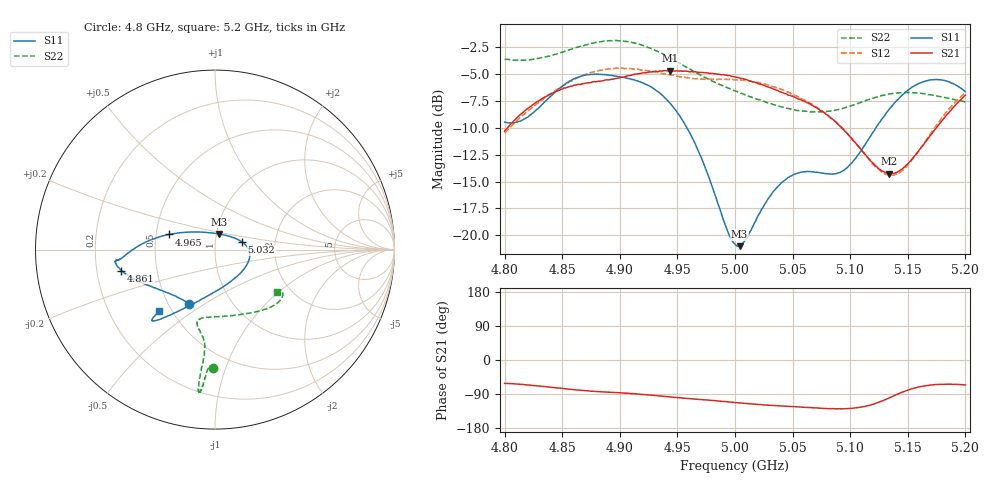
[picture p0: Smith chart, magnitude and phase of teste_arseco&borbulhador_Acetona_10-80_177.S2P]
! Network Analyzer HP8722D
! Hewlett-Packard
! Data name: Linha & Wilkinson
! Saver's name: Rodrigo Anjos
! Comments: Teste da utilização de aquisição
! continua pelo VNA HP8722D
! Time and date: 17/4/2025 15:50
!  Frequency  S11  S21  S12  S22
# HZ  S  MA R 50
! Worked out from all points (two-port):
!   401 points, 4.8 GHz to 5.2 GHz, reference 50 ohm
!   highest |S21| = -4.71 dB at 4.944 GHz (marker M1); lowest = -14.3 dB at 5.134 GHz (marker M2)
!   |S21| within 3 dB of the highest: 4.827 GHz to 5.063 GHz (236.5 MHz wide, 4.78 % of centre); 5.193247 GHz to end of sweep
!   lowest |S11| = -21.0 dB at 5.004 GHz (marker M3), VSWR 1.20, Z = 51.3 + j8.98 ohm
!   |S11| at or under -10 dB: 4.958 GHz to 5.122 GHz (164.2 MHz wide, 3.26 % of centre)
!   |S22| runs from -8.6 to -1.9 dB; largest |S21 - S12| = 0.87
!   S11 on the Smith chart (normalised r, x): 4.8 GHz: 0.63, -0.43; 4.861 GHz: 0.31, -0.10; 4.965 GHz: 0.59, +0.11; 5.032 GHz: 1.35, +0.12; 5.2 GHz: 0.43, -0.37
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4.8e9  0.3354 -115.3  0.305 -61.6  0.2992 -175.8  0.6572 -90.8
4.819e9  0.3517 -135.5  0.3841 -65.6  0.3728 -175.1  0.6521 -92.4
4.861e9  0.5348 -167.4  0.4976 -78.7  0.5312 -178.5  0.7394 -94.9
4.867e9  0.5492 -169.8  0.5049 -80.2  0.5482 -179.7  0.7572 -95.1
4.898e9  0.5464 -173.9  0.5361 -86.2  0.5952 174.4  0.8009 -96.3
4.934e9  0.4608 -179.9  0.578 -94.8  0.5688 170.8  0.7074 -96.8
4.944e9  0.4086 175.6  0.5817 -97.6  0.5553 170.9  0.6646 -96.4
4.965e9  0.2692 161.8  0.5744 -103.2  0.5332 172.8  0.5729 -96.0
4.993e9  0.1065 116.3  0.5535 -110.2  0.5297 175.0  0.4856 -98.5
5e9  0.09129 91.9  0.5432 -112.4  0.5278 175.1  0.4686 -99.8
5.004e9  0.08918 76.7  0.5369 -113.3  0.5271 175.1  0.4591 -100.6
5.032e9  0.1564 15.9  0.481 -119.9  0.4917 173.9  0.4075 -103.7
5.048e9  0.1883 0.2  0.4462 -122.5  0.4584 173.1  0.3858 -99.9
5.067e9  0.1973 -20.0  0.4011 -126.0  0.4056 172.8  0.3736 -89.4
5.085e9  0.1929 -48.5  0.3445 -128.7  0.3444 173.1  0.3801 -75.6
5.096e9  0.204 -70.3  0.302 -128.4  0.3026 174.6  0.3923 -66.7
5.123e9  0.3199 -111.0  0.208 -113.5  0.2068 -168.2  0.4385 -48.4
5.134e9  0.3853 -119.4  0.1933 -99.7  0.1898 -152.8  0.4528 -43.2
5.147e9  0.4561 -125.6  0.2076 -82.7  0.2038 -133.2  0.46 -38.1
5.167e9  0.5219 -130.6  0.2781 -67.1  0.282 -113.8  0.4516 -33.1
5.184e9  0.5192 -132.1  0.364 -63.8  0.3759 -108.1  0.4341 -31.8
5.2e9  0.4638 -132.1  0.4472 -65.8  0.4593 -107.9  0.4159 -34.3
